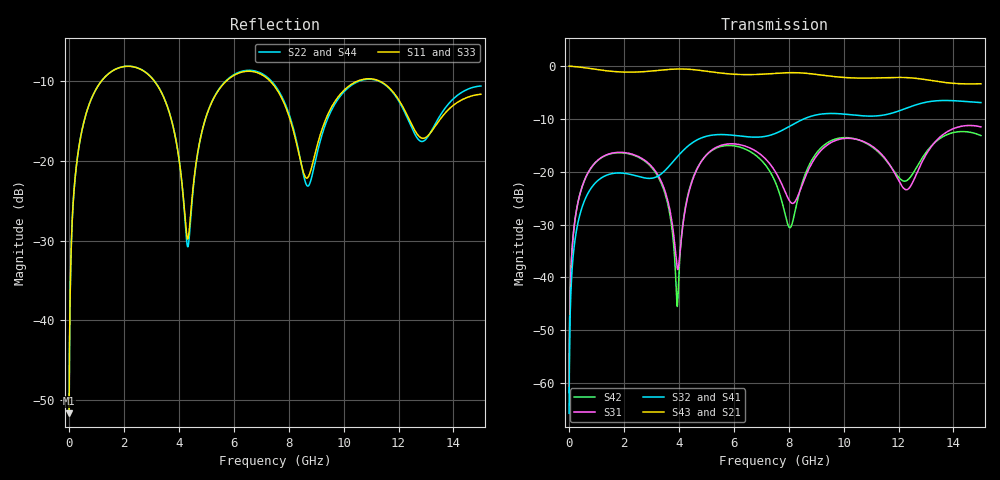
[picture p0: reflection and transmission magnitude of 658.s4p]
! Created with skrf 1.8.0 (http://scikit-rf.org).
# GHz S RI R 50.0
!freq ReS11 ImS11 ReS12 ImS12 ReS13 ImS13
! ReS14 ImS14
! ReS21 ImS21 ReS22 ImS22 ReS23 ImS23
! ReS24 ImS24
! ReS31 ImS31 ReS32 ImS32 ReS33 ImS33
! ReS34 ImS34
! ReS41 ImS41 ReS42 ImS42 ReS43 ImS43
! ReS44 ImS44
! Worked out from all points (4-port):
!   2499 points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, 5 MHz to 15 GHz, reference 50 ohm
!   strongest paths, dB at 5 MHz, 3.476 GHz, 7.19 GHz, 11.1 GHz, 15 GHz:
!     S43: 0.0, -0.7, -1.5, -2.3, -3.3
!     S21: 0.0, -0.7, -1.5, -2.3, -3.3
!     S32: -65.7, -19.9, -13.3, -9.5, -6.9
!     S41: -65.7, -19.9, -13.3, -9.5, -6.9
!     S31: -61.8, -23.4, -17.7, -15.4, -11.5
!     S42: -61.8, -23.8, -19.0, -15.5, -13.1
!   lowest |S11| = -51.7 dB at 5 MHz (marker M1), VSWR 1.01, Z = 50.2 + j0.158 ohm
!   |S11| at or under -10 dB: 3.12 GHz to 5.712 GHz (2.592 GHz wide, 58.7 % of centre); 7.338 GHz to 10.47 GHz (3.136 GHz wide, 35.2 % of centre); 11.34 GHz to end of sweep (the widest 3 of 4)
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0.005  0.00207 0.00158  0.9979 -0.00403  0.000105 0.000806  -0.000102 -0.000509
       0.9979 -0.00403  0.00207 0.00158  -0.000102 -0.000509  0.000105 0.000806
       0.000105 0.000806  -0.000102 -0.000509  0.00207 0.00158  0.9979 -0.00403
       -0.000102 -0.000509  0.000105 0.000806  0.9979 -0.00403  0.00207 0.00158
1.269279  0.2817 0.1743  0.5252 -0.7422  0.1296 0.0548  -0.0902 -0.00258
          0.5252 -0.7422  0.2825 0.1738  -0.0903 -0.00248  0.1274 0.058
          0.1296 0.0548  -0.0903 -0.00248  0.2817 0.1744  0.5252 -0.7422
          -0.0902 -0.00258  0.1274 0.058  0.5252 -0.7422  0.2825 0.1738
3.940455  0.0613 -0.1058  -0.8765 -0.3341  -0.0114 -0.00472  -0.0458 0.1306
          -0.8765 -0.3341  0.0582 -0.1082  -0.0446 0.131  -0.00517 -0.00122
          -0.0114 -0.00472  -0.0446 0.131  0.0615 -0.1065  -0.8764 -0.3342
          -0.0458 0.1306  -0.00517 -0.00122  -0.8764 -0.3342  0.0585 -0.1088
5.002084  0.1269 0.1439  -0.8079 0.3833  0.1056 0.0979  0.1203 0.1799
          -0.8079 0.3833  0.1249 0.1455  0.1221 0.1791  0.1022 0.1011
          0.1056 0.0979  0.1221 0.1791  0.1258 0.1429  -0.8081 0.3833
          0.1203 0.1799  0.1022 0.1011  -0.8081 0.3833  0.125 0.1446
8.672363  0.0781 -0.0026  0.8433 0.1278  -0.0137 0.097  0.0434 -0.3226
          0.8433 0.1278  0.0689 -0.0118  0.0377 -0.3233  0.00372 0.105
          -0.0137 0.097  0.0377 -0.3233  0.0774 -0.000163  0.8436 0.1256
          0.0434 -0.3226  0.00372 0.105  0.8436 0.1256  0.0689 -0.00814
11.42976  0.3006 -0.076  -0.1257 -0.7659  0.0644 -0.1265  -0.3293 0.0908
          -0.1257 -0.7659  0.299 -0.0745  -0.3278 0.1011  0.0606 -0.1253
          0.0644 -0.1265  -0.3278 0.1011  0.3029 -0.0696  -0.1275 -0.7647
          -0.3293 0.0908  0.0606 -0.1253  -0.1275 -0.7647  0.3005 -0.0826
15  0.2626 -0.00777  -0.3297 0.5971  0.2589 -0.0604  0.4284 0.1366
    -0.3297 0.5971  0.295 -0.0239  0.434 0.1242  0.2186 -0.0255
    0.2589 -0.0604  0.434 0.1242  0.2641 -0.00835  -0.325 0.5976
    0.4284 0.1366  0.2186 -0.0255  -0.325 0.5976  0.3025 -0.0218
